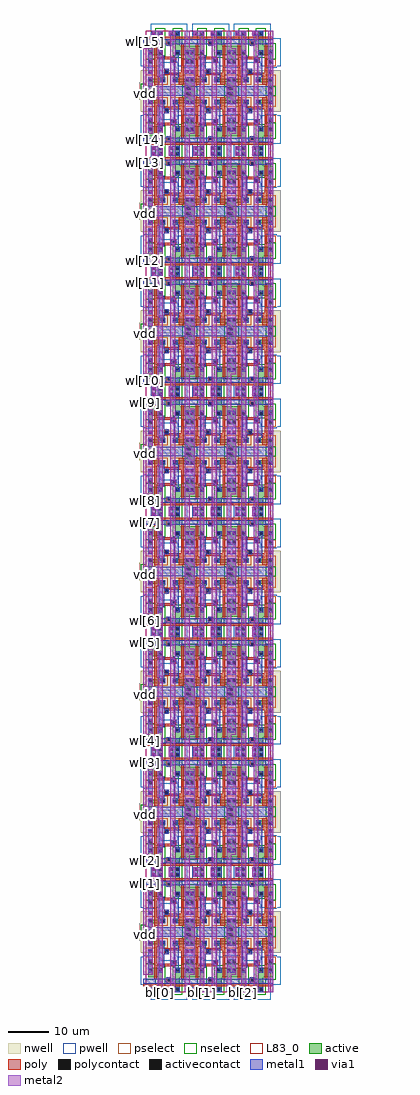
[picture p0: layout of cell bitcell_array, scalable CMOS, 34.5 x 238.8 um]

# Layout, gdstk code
import gdstk
lib = gdstk.Library(unit=1e-6, precision=1e-09)
def R(c, l, rs):  # rectangles x0, y0, x1, y1
    for r in rs: c.add(gdstk.rectangle(r[:2], r[2:], *l))
def A(c, l, x, y, w, h, nx, ny, dx, dy):  # array of equal rectangles
    R(c, l, [(x+i*dx, y+j*dy, x+i*dx+w, y+j*dy+h) for i in range(nx) for j in range(ny)])
pwell = (41, 0)
nwell = (42, 0)
active = (43, 0)
pselect = (44, 0)
nselect = (45, 0)
poly = (46, 0)
polycontact = (47, 0)
activecontact = (48, 0)
metal1 = (49, 0)
via1 = (50, 0)
metal2 = (51, 0)
L83_0 = (83, 0)

cell_6t = lib.new_cell('cell_6t')
R(cell_6t, pwell, [(1.2,-1.8,10.2,1.8), (-1.2,1.8,12.6,7.8), (-1.2,7.8,3.6,8.7), (7.8,7.8,12.6,8.7), (-0.3,8.7,2.7,9), (8.7,8.7,11.7,9)])
R(cell_6t, nwell, [(-1.2,9.6,12.6,12.6), (-1.5,12.6,12.6,14.4), (-1.5,14.4,3.6,15.3), (7.8,14.4,12.6,15.3), (-1.5,15.3,2.7,15.6), (8.7,15.3,11.7,15.6)])
A(cell_6t, active, 0.6, 11.4, 1.2, 0.3, 4, 1, 3, 0)
R(cell_6t, active, [(3,0,4.2,3.6), (7.2,0,8.4,3.6), (0.6,3.6,4.2,6), (7.2,3.6,10.8,6), (0.6,6,1.8,8.1), (9.6,6,10.8,8.1), (0.6,11.7,4.8,12.6), (6.6,11.7,10.8,12.6), (0.6,12.6,1.8,13.5), (9.6,12.6,10.8,14.7), (-0.6,13.5,1.8,14.7)])
A(cell_6t, pselect, 0, 10.8, 2.4, 0.3, 4, 1, 3, 0)
R(cell_6t, pselect, [(0,6.9,2.4,8.7), (9,6.9,11.4,8.7), (0,11.1,5.4,13.2), (6,11.1,11.4,13.2), (0,13.2,2.4,13.5), (9,13.2,11.4,13.5)])
R(cell_6t, nselect, [(2.4,-0.6,4.8,3), (6.6,-0.6,9,3), (0,3,4.8,6.6), (6.6,3,11.4,6.6), (0,6.6,2.4,6.9), (9,6.6,11.4,6.9), (-1.2,12.9,0,13.5), (-1.2,13.5,2.4,15.3), (9,13.5,11.4,15.3)])
R(cell_6t, poly, [(-0.6,1.5,10.8,2.1), (5.1,2.1,6.3,3.6), (2.1,3,2.7,6.3), (8.7,3,9.3,10.2), (2.1,6.3,7.2,6.6), (2.1,6.6,7.5,6.9), (2.1,6.9,2.7,11.1), (6.3,6.9,7.5,7.8), (4.5,9.3,5.7,10.2), (4.5,10.2,9.3,10.8), (8.1,10.8,9.3,13.2), (2.1,11.1,3.3,13.2)])
R(cell_6t, polycontact, [(5.4,2.7,6,3.3), (6.6,6.9,7.2,7.5), (4.8,9.6,5.4,10.2)])
A(cell_6t, activecontact, 0.9, 11.7, 0.6, 0.6, 4, 1, 3, 0)
R(cell_6t, activecontact, [(3.3,0.3,3.9,0.9), (7.5,0.3,8.1,0.9), (0.9,5.1,1.5,5.7), (3.3,5.1,3.9,5.7), (7.5,5.1,8.1,5.7), (9.9,5.1,10.5,5.7), (0.9,7.2,1.5,7.8), (9.9,7.2,10.5,7.8), (0.3,13.8,0.9,14.4), (9.9,13.8,10.5,14.4)])
R(cell_6t, metal1, [(1.5,0,4.2,1.2), (5.7,0,8.4,1.2), (-0.6,2.1,10.8,3.3), (5.1,3.3,6.3,3.6), (0.6,4.8,1.8,10.5), (3,4.8,4.2,6), (7.2,4.8,8.4,6), (9.6,4.8,10.8,10.5), (3.3,6,4.5,9.3), (6.9,6,8.1,6.6), (6.3,6.6,8.1,7.8), (6.9,7.8,8.1,11.4), (3.3,9.3,5.7,10.5), (3.3,10.5,4.5,11.4), (0.6,11.4,1.8,13.5), (3.6,11.4,4.8,12.6), (6.6,11.4,7.8,12.6), (9.6,11.4,10.8,13.5), (-0.6,13.5,10.8,14.7)])
R(cell_6t, via1, [(1.8,0.3,2.4,0.9), (6,0.3,6.6,0.9), (0.9,9.6,1.5,10.2), (9.9,9.6,10.5,10.2)])
R(cell_6t, metal2, [(1.5,0,4.2,1.2), (5.7,0,7.2,1.2), (9.6,0,10.8,14.7), (3,1.2,4.2,14.7), (6,1.2,7.2,14.7), (-0.6,4.2,1.8,14.7)])
R(cell_6t, L83_0, [(0,0,10.2,14.7)])
cell_6t.add(gdstk.Label('WL', (0,2.1), layer=49, texttype=0))
cell_6t.add(gdstk.Label('gnd', (0.6,9.3), layer=51, texttype=0))
cell_6t.add(gdstk.Label('vdd', (9.6,13.5), layer=49, texttype=0))
cell_6t.add(gdstk.Label('gnd', (9.6,9.3), layer=51, texttype=0))
cell_6t.add(gdstk.Label('BL', (3,1.2), layer=51, texttype=0))
cell_6t.add(gdstk.Label('BR', (6,1.2), layer=51, texttype=0))

bitcell_array = lib.new_cell('bitcell_array')
bitcell_array.add(gdstk.Reference(cell_6t, (0,0)))
bitcell_array.add(gdstk.Reference(cell_6t, (0,29.4), x_reflection=True))
bitcell_array.add(gdstk.Reference(cell_6t, (0,29.4)))
bitcell_array.add(gdstk.Reference(cell_6t, (0,58.8), x_reflection=True))
bitcell_array.add(gdstk.Reference(cell_6t, (0,58.8)))
bitcell_array.add(gdstk.Reference(cell_6t, (0,88.2), x_reflection=True))
bitcell_array.add(gdstk.Reference(cell_6t, (0,88.2)))
bitcell_array.add(gdstk.Reference(cell_6t, (0,117.6), x_reflection=True))
bitcell_array.add(gdstk.Reference(cell_6t, (0,117.6)))
bitcell_array.add(gdstk.Reference(cell_6t, (0,147), x_reflection=True))
bitcell_array.add(gdstk.Reference(cell_6t, (0,147)))
bitcell_array.add(gdstk.Reference(cell_6t, (0,176.4), x_reflection=True))
bitcell_array.add(gdstk.Reference(cell_6t, (0,176.4)))
bitcell_array.add(gdstk.Reference(cell_6t, (0,205.8), x_reflection=True))
bitcell_array.add(gdstk.Reference(cell_6t, (0,205.8)))
bitcell_array.add(gdstk.Reference(cell_6t, (0,235.2), x_reflection=True))
bitcell_array.add(gdstk.Reference(cell_6t, (10.2,0)))
bitcell_array.add(gdstk.Reference(cell_6t, (10.2,29.4), x_reflection=True))
bitcell_array.add(gdstk.Reference(cell_6t, (10.2,29.4)))
bitcell_array.add(gdstk.Reference(cell_6t, (10.2,58.8), x_reflection=True))
bitcell_array.add(gdstk.Reference(cell_6t, (10.2,58.8)))
bitcell_array.add(gdstk.Reference(cell_6t, (10.2,88.2), x_reflection=True))
bitcell_array.add(gdstk.Reference(cell_6t, (10.2,88.2)))
bitcell_array.add(gdstk.Reference(cell_6t, (10.2,117.6), x_reflection=True))
bitcell_array.add(gdstk.Reference(cell_6t, (10.2,117.6)))
bitcell_array.add(gdstk.Reference(cell_6t, (10.2,147), x_reflection=True))
bitcell_array.add(gdstk.Reference(cell_6t, (10.2,147)))
bitcell_array.add(gdstk.Reference(cell_6t, (10.2,176.4), x_reflection=True))
bitcell_array.add(gdstk.Reference(cell_6t, (10.2,176.4)))
bitcell_array.add(gdstk.Reference(cell_6t, (10.2,205.8), x_reflection=True))
bitcell_array.add(gdstk.Reference(cell_6t, (10.2,205.8)))
bitcell_array.add(gdstk.Reference(cell_6t, (10.2,235.2), x_reflection=True))
bitcell_array.add(gdstk.Reference(cell_6t, (20.4,0)))
bitcell_array.add(gdstk.Reference(cell_6t, (20.4,29.4), x_reflection=True))
bitcell_array.add(gdstk.Reference(cell_6t, (20.4,29.4)))
bitcell_array.add(gdstk.Reference(cell_6t, (20.4,58.8), x_reflection=True))
bitcell_array.add(gdstk.Reference(cell_6t, (20.4,58.8)))
bitcell_array.add(gdstk.Reference(cell_6t, (20.4,88.2), x_reflection=True))
bitcell_array.add(gdstk.Reference(cell_6t, (20.4,88.2)))
bitcell_array.add(gdstk.Reference(cell_6t, (20.4,117.6), x_reflection=True))
bitcell_array.add(gdstk.Reference(cell_6t, (20.4,117.6)))
bitcell_array.add(gdstk.Reference(cell_6t, (20.4,147), x_reflection=True))
bitcell_array.add(gdstk.Reference(cell_6t, (20.4,147)))
bitcell_array.add(gdstk.Reference(cell_6t, (20.4,176.4), x_reflection=True))
bitcell_array.add(gdstk.Reference(cell_6t, (20.4,176.4)))
bitcell_array.add(gdstk.Reference(cell_6t, (20.4,205.8), x_reflection=True))
bitcell_array.add(gdstk.Reference(cell_6t, (20.4,205.8)))
bitcell_array.add(gdstk.Reference(cell_6t, (20.4,235.2), x_reflection=True))
bitcell_array.add(gdstk.Label('bl[0]', (3.6,0), layer=51, texttype=0))
bitcell_array.add(gdstk.Label('br[0]', (6.6,0), layer=51, texttype=0))
bitcell_array.add(gdstk.Label('gnd', (10.2,0), layer=51, texttype=0))
bitcell_array.add(gdstk.Label('vdd', (0,14.1), layer=49, texttype=0))
bitcell_array.add(gdstk.Label('wl[0]', (0,2.7), layer=49, texttype=0))
bitcell_array.add(gdstk.Label('vdd', (0,15.3), layer=49, texttype=0))
bitcell_array.add(gdstk.Label('wl[1]', (0,26.7), layer=49, texttype=0))
bitcell_array.add(gdstk.Label('vdd', (0,43.5), layer=49, texttype=0))
bitcell_array.add(gdstk.Label('wl[2]', (0,32.1), layer=49, texttype=0))
bitcell_array.add(gdstk.Label('vdd', (0,44.7), layer=49, texttype=0))
bitcell_array.add(gdstk.Label('wl[3]', (0,56.1), layer=49, texttype=0))
bitcell_array.add(gdstk.Label('vdd', (0,72.9), layer=49, texttype=0))
bitcell_array.add(gdstk.Label('wl[4]', (0,61.5), layer=49, texttype=0))
bitcell_array.add(gdstk.Label('vdd', (0,74.1), layer=49, texttype=0))
bitcell_array.add(gdstk.Label('wl[5]', (0,85.5), layer=49, texttype=0))
bitcell_array.add(gdstk.Label('vdd', (0,102.3), layer=49, texttype=0))
bitcell_array.add(gdstk.Label('wl[6]', (0,90.9), layer=49, texttype=0))
bitcell_array.add(gdstk.Label('vdd', (0,103.5), layer=49, texttype=0))
bitcell_array.add(gdstk.Label('wl[7]', (0,114.9), layer=49, texttype=0))
bitcell_array.add(gdstk.Label('vdd', (0,131.7), layer=49, texttype=0))
bitcell_array.add(gdstk.Label('wl[8]', (0,120.3), layer=49, texttype=0))
bitcell_array.add(gdstk.Label('vdd', (0,132.9), layer=49, texttype=0))
bitcell_array.add(gdstk.Label('wl[9]', (0,144.3), layer=49, texttype=0))
bitcell_array.add(gdstk.Label('vdd', (0,161.1), layer=49, texttype=0))
bitcell_array.add(gdstk.Label('wl[10]', (0,149.7), layer=49, texttype=0))
bitcell_array.add(gdstk.Label('vdd', (0,162.3), layer=49, texttype=0))
bitcell_array.add(gdstk.Label('wl[11]', (0,173.7), layer=49, texttype=0))
bitcell_array.add(gdstk.Label('vdd', (0,190.5), layer=49, texttype=0))
bitcell_array.add(gdstk.Label('wl[12]', (0,179.1), layer=49, texttype=0))
bitcell_array.add(gdstk.Label('vdd', (0,191.7), layer=49, texttype=0))
bitcell_array.add(gdstk.Label('wl[13]', (0,203.1), layer=49, texttype=0))
bitcell_array.add(gdstk.Label('vdd', (0,219.9), layer=49, texttype=0))
bitcell_array.add(gdstk.Label('wl[14]', (0,208.5), layer=49, texttype=0))
bitcell_array.add(gdstk.Label('vdd', (0,221.1), layer=49, texttype=0))
bitcell_array.add(gdstk.Label('wl[15]', (0,232.5), layer=49, texttype=0))
bitcell_array.add(gdstk.Label('bl[1]', (13.8,0), layer=51, texttype=0))
bitcell_array.add(gdstk.Label('br[1]', (16.8,0), layer=51, texttype=0))
bitcell_array.add(gdstk.Label('gnd', (20.4,0), layer=51, texttype=0))
bitcell_array.add(gdstk.Label('bl[2]', (24,0), layer=51, texttype=0))
bitcell_array.add(gdstk.Label('br[2]', (27,0), layer=51, texttype=0))
bitcell_array.add(gdstk.Label('gnd', (30.6,0), layer=51, texttype=0))

lib.write_gds('bitcell_array.gds')
